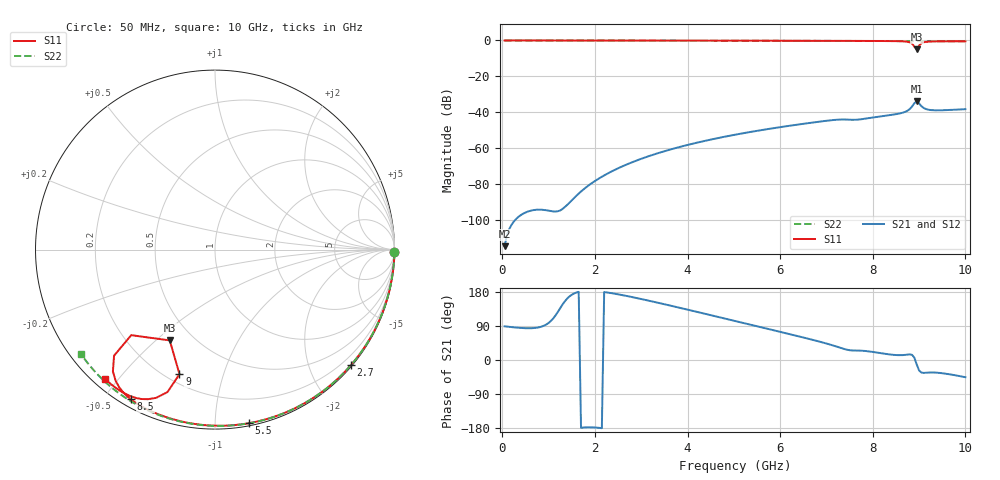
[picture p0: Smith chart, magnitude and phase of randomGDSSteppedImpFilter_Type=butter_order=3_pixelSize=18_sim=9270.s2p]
! freq	dB(S11)	phase(S11)	dB(S12)	phase(S12)
!  dB(S21)	phase(S21)	dB(S22)	phase(S22)
!S-par simulation data
#  GHz  S  DB  R 50
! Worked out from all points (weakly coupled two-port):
!   200 points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, 50 MHz to 10 GHz, reference 50 ohm
!   highest |S21| = -33.87 dB at 8.95 GHz (marker M1); lowest = -114.3 dB at 50 MHz (marker M2)
!   lowest |S11| = -5.0 dB at 8.95 GHz (marker M3), VSWR 3.60, Z = 18.7 - j27.7 ohm
!   |S11| at or under -10 dB: nowhere
!   |S22| runs from -0.5 to 0.0 dB; largest |S21 - S12| = 0
!   S11 on the Smith chart (normalised r, x): 50 MHz: open; 2.7 GHz: 0.03, -2.71; 5.5 GHz: 0.02, -1.21; 8.5 GHz: 0.03, -0.58; 9 GHz: 0.25, -0.72; 10 GHz: 0.03, -0.46
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0.05  -0.00 -0.8  -114.32 88.9  -114.32 88.9  -0.00 -0.8
1.75  -0.03 -26.5  -82.85 -178.2  -82.85 -178.2  -0.04 -28.2
1.9  -0.04 -28.7  -79.89 -177.5  -79.89 -177.5  -0.04 -30.6
2.25  -0.04 -33.9  -74.29 178.5  -74.29 178.5  -0.05 -36.1
2.7  -0.05 -40.5  -68.77 168.6  -68.77 168.6  -0.06 -43.0
3.4  -0.07 -50.5  -62.34 150.0  -62.34 150.0  -0.07 -53.6
5.05  -0.11 -73.1  -52.27 102.3  -52.27 102.3  -0.12 -77.5
5.5  -0.13 -79.1  -50.22 89.1  -50.22 89.1  -0.14 -83.8
6.7  -0.18 -94.5  -45.62 53.3  -45.62 53.3  -0.19 -99.9
7.25  -0.22 -101.5  -44.01 34.2  -44.01 34.2  -0.22 -107.0
7.7  -0.25 -107.3  -43.95 24.8  -43.95 24.8  -0.26 -112.8
8.35  -0.33 -116.6  -41.55 14.9  -41.55 14.9  -0.31 -121.1
8.5  -0.38 -119.4  -40.96 13.1  -40.96 13.1  -0.32 -123.0
8.75  -0.75 -127.1  -39.04 14.3  -39.04 14.3  -0.35 -126.1
8.85  -1.77 -133.6  -36.65 13.5  -36.65 13.5  -0.36 -127.4
8.9  -3.51 -134.4  -34.78 5.6  -34.78 5.6  -0.36 -128.0
8.95  -4.96 -116.5  -33.87 -12.3  -33.87 -12.3  -0.36 -128.6
9  -2.84 -105.9  -35.01 -27.6  -35.01 -27.6  -0.37 -129.3
9.05  -1.55 -108.4  -36.51 -33.1  -36.51 -33.1  -0.37 -129.9
9.1  -1.02 -111.7  -37.54 -34.0  -37.54 -34.0  -0.38 -130.5
9.25  -0.58 -117.8  -38.68 -32.9  -38.68 -32.9  -0.40 -132.4
10  -0.48 -130.5  -38.19 -45.4  -38.19 -45.4  -0.48 -141.9
